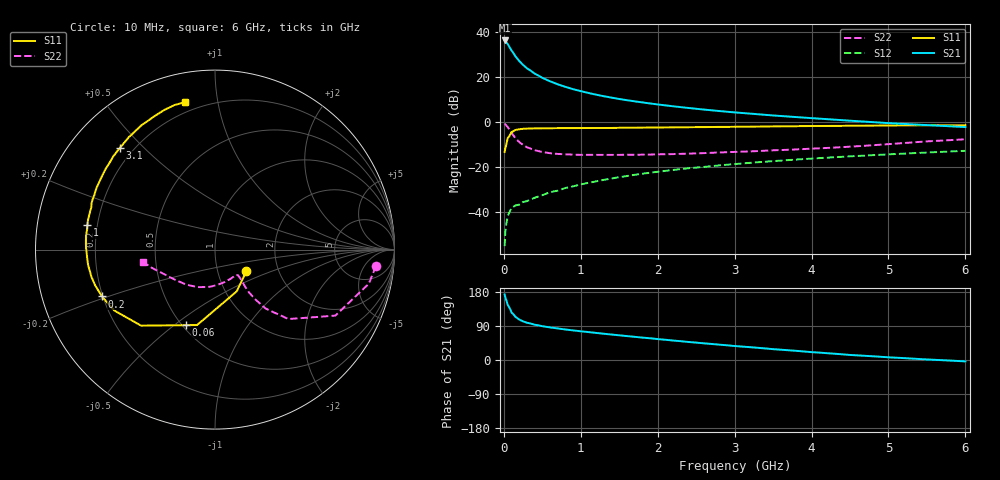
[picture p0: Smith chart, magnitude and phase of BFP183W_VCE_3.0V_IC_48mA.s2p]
! Infineon Technologies  Discrete & RF Semiconductors
! BFP183W
! VCE =  3.0 V,  IC =  48 mA
! Common Emitter S-Parameters:  Jan 2017
# GHz  S  MA  R  50
!  f  S11  S21  S12  S22
! GHz  MAG  ANG  MAG  ANG  MAG  ANG  MAG  ANG
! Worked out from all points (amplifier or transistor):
!   77 points, 10 MHz to 6 GHz, reference 50 ohm
!   highest |S21| = 36.2 dB at 10 MHz (marker M1)
!   |S21| within 3 dB of that: start of sweep to 74.66 MHz
!   unconditionally stable (mu >= 1): 480.8 MHz to 3.763 GHz
!   at 130 MHz: K = 0.46, MSG = 34.0 dB, |S12| = -37.7 dB
!   at 2.2 GHz: K = 1.12, MAG = 12.1 dB, |S12| = -21.5 dB
!   at 6 GHz: K = 0.89, MSG = 5.3 dB, |S12| = -12.9 dB
!   S11 on the Smith chart (normalised r, x): 10 MHz: 1.37, -0.35; 60 MHz: 0.52, -0.55; 200 MHz: 0.20, -0.19; 1 GHz: 0.16, +0.09; 3.1 GHz: 0.15, +0.42; 6 GHz: 0.15, +0.81
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0.01  0.2126 -34.6  64.65 173.0  0.0017 85.9  0.9013 -5.9
0.02  0.2622 -62.6  63.27 164.9  0.0036 79.4  0.8779 -12.5
0.05  0.4323 -103.4  53.98 145.7  0.0079 64.2  0.7652 -28.7
0.06  0.4514 -111.1  50.52 142.6  0.0087 61.2  0.7213 -31.0
0.1  0.5909 -134.2  38.79 125.2  0.012 53.1  0.5617 -43.5
0.15  0.6561 -148.9  28.83 114.1  0.0137 47.7  0.4309 -49.4
0.2  0.6815 -157.5  22.56 106.8  0.0143 46.8  0.3539 -51.1
0.25  0.6969 -163.4  18.47 101.9  0.0164 49.0  0.3044 -51.5
0.3  0.705 -167.6  15.55 98.4  0.0171 51.4  0.2712 -51.0
0.4  0.7126 -173.4  11.85 93.1  0.0203 54.1  0.2327 -49.6
0.5  0.7145 -177.6  9.523 89.2  0.0232 57.0  0.2125 -48.6
0.6  0.7188 179.1  7.969 86.0  0.0271 60.1  0.1997 -48.3
0.7  0.721 176.3  6.838 83.3  0.0293 62.7  0.1923 -48.1
0.9  0.7216 171.2  5.319 78.1  0.0365 65.9  0.186 -49.9
1  0.7245 169.1  4.809 75.8  0.0403 66.3  0.1833 -51.0
1.1  0.7263 166.9  4.375 73.7  0.0438 66.8  0.1836 -52.4
1.5  0.7347 159.4  3.216 65.2  0.0586 67.4  0.1833 -60.1
2.1  0.7483 148.6  2.32 53.4  0.0808 65.9  0.1893 -75.7
3.1  0.7754 133.2  1.568 35.4  0.118 60.4  0.2161 -105.0
4.1  0.8059 119.5  1.174 19.5  0.1551 53.7  0.2565 -132.4
5.1  0.8286 109.3  0.914 6.1  0.1919 46.5  0.3268 -157.0
6  0.8389 101.3  0.762 -3.7  0.2256 39.5  0.4078 -170.4
